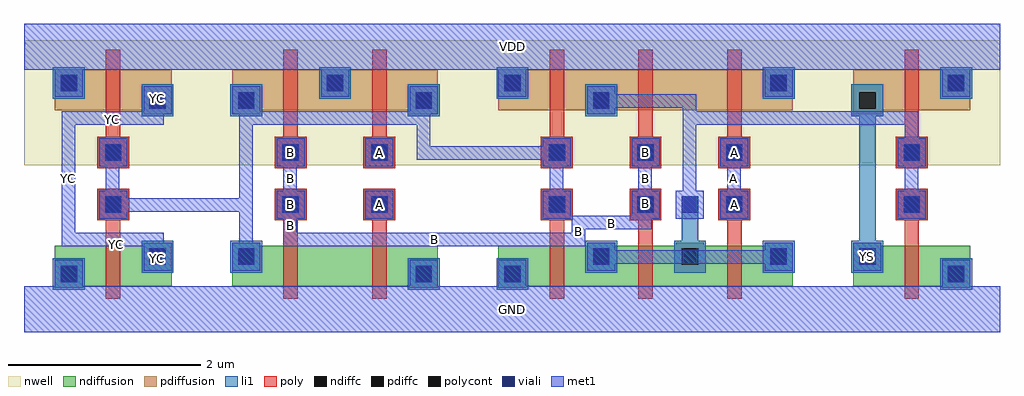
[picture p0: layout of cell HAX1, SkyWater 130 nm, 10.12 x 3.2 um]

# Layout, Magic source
magic
# Generated by librecell
tech sky130A
<< nwell >>
rect 0 149 1012 272
rect 1 272 1012 279
<< viali >>
rect 38 28 55 45
rect 406 28 423 45
rect 498 28 515 45
rect 958 28 975 45
rect 130 46 147 63
rect 222 46 239 63
rect 590 46 607 63
rect 774 46 791 63
rect 866 46 883 63
rect 84 100 101 117
rect 268 100 285 117
rect 360 100 377 117
rect 544 100 561 117
rect 636 100 653 117
rect 682 100 699 117
rect 728 100 745 117
rect 912 100 929 117
rect 84 154 101 171
rect 268 154 285 171
rect 360 154 377 171
rect 544 154 561 171
rect 636 154 653 171
rect 728 154 745 171
rect 912 154 929 171
rect 130 208 147 225
rect 222 208 239 225
rect 406 208 423 225
rect 590 208 607 225
rect 38 226 55 243
rect 314 226 331 243
rect 498 226 515 243
rect 774 226 791 243
rect 958 226 975 243
<< poly >>
rect 85 11 100 92
rect 76 92 109 125
rect 269 11 284 92
rect 260 92 293 125
rect 361 11 376 92
rect 352 92 385 125
rect 545 11 560 92
rect 536 92 569 125
rect 637 11 652 92
rect 628 92 661 125
rect 729 11 744 92
rect 720 92 753 125
rect 913 11 928 92
rect 904 92 937 125
rect 76 146 109 179
rect 85 179 100 269
rect 260 146 293 179
rect 269 179 284 269
rect 352 146 385 179
rect 361 179 376 269
rect 536 146 569 179
rect 545 179 560 269
rect 628 146 661 179
rect 637 179 652 269
rect 720 146 753 179
rect 729 179 744 269
rect 904 146 937 179
rect 913 179 928 269
<< properties >>
string FIXED_BBOX 0 0 1012 272
<< li1 >>
rect 30 20 63 53
rect 398 20 431 53
rect 490 20 523 53
rect 950 20 983 53
rect 122 38 155 71
rect 214 38 247 71
rect 582 38 615 71
rect 766 38 799 71
rect 674 38 707 71
rect 682 71 699 117
rect 76 92 109 125
rect 260 92 293 125
rect 352 92 385 125
rect 536 92 569 125
rect 628 92 661 125
rect 720 92 753 125
rect 904 92 937 125
rect 76 146 109 179
rect 260 146 293 179
rect 352 146 385 179
rect 536 146 569 179
rect 628 146 661 179
rect 720 146 753 179
rect 904 146 937 179
rect 122 200 155 233
rect 214 200 247 233
rect 398 200 431 233
rect 582 200 615 233
rect 858 38 891 71
rect 866 71 883 200
rect 858 200 891 233
rect 30 218 63 251
rect 306 218 339 251
rect 490 218 523 251
rect 766 218 799 251
rect 950 218 983 251
<< met1 >>
rect 0 -24 1012 24
rect 32 24 61 51
rect 400 24 429 51
rect 492 24 521 51
rect 952 24 981 51
rect 584 40 613 47
rect 768 40 797 47
rect 584 47 797 61
rect 584 61 613 69
rect 768 61 797 69
rect 860 40 889 69
rect 354 94 383 123
rect 354 148 383 177
rect 269 65 582 79
rect 568 79 582 83
rect 269 79 283 94
rect 568 83 651 94
rect 568 94 659 97
rect 262 94 291 123
rect 630 97 659 123
rect 269 123 283 148
rect 637 123 651 148
rect 262 148 291 177
rect 630 148 659 177
rect 722 94 751 123
rect 729 123 743 148
rect 722 148 751 177
rect 124 40 153 65
rect 39 65 153 69
rect 39 69 145 79
rect 39 79 53 191
rect 39 191 145 202
rect 39 202 153 205
rect 124 205 153 231
rect 216 40 245 69
rect 78 94 107 101
rect 223 69 237 101
rect 78 101 237 115
rect 78 115 107 123
rect 538 94 567 123
rect 85 123 99 148
rect 545 123 559 148
rect 538 148 567 155
rect 407 155 567 169
rect 78 148 107 177
rect 538 169 567 177
rect 223 115 237 191
rect 407 169 421 191
rect 223 191 421 202
rect 216 202 429 205
rect 216 205 245 231
rect 400 205 429 231
rect 676 94 705 123
rect 906 94 935 123
rect 913 123 927 148
rect 906 148 935 177
rect 683 123 697 191
rect 913 177 927 191
rect 683 191 927 205
rect 584 202 613 209
rect 683 205 697 209
rect 584 209 697 223
rect 584 223 613 231
rect 32 220 61 248
rect 308 220 337 248
rect 492 220 521 248
rect 768 220 797 248
rect 952 220 981 248
rect 0 248 1012 296
<< li1 >>
<< met1 >>
<< li1 >>
<< met1 >>
rect 0 -24 1012 24
rect 860 40 889 69
rect 354 148 383 177
rect 269 65 582 79
rect 568 79 582 83
rect 269 79 283 94
rect 568 83 651 94
rect 568 94 659 97
rect 262 94 291 123
rect 630 97 659 123
rect 269 123 283 148
rect 637 123 651 148
rect 262 148 291 177
rect 630 148 659 177
rect 124 40 153 65
rect 39 65 153 69
rect 39 69 145 79
rect 39 79 53 191
rect 39 191 145 202
rect 39 202 153 205
rect 124 205 153 231
rect 0 248 1012 296
<< ndiffusion >>
rect 32 22 61 24
rect 32 24 153 66
rect 124 66 153 69
rect 400 22 429 24
rect 216 24 429 66
rect 216 66 245 69
rect 492 22 521 24
rect 492 24 797 66
rect 584 66 613 69
rect 676 66 705 69
rect 768 66 797 69
rect 952 22 981 24
rect 860 24 981 66
rect 860 66 889 69
<< pdiffusion >>
rect 124 202 153 206
rect 32 206 153 248
rect 32 248 61 249
rect 216 202 245 206
rect 400 202 429 206
rect 216 206 429 248
rect 308 248 337 249
rect 584 202 613 206
rect 492 206 797 248
rect 492 248 521 249
rect 768 248 797 249
rect 860 202 889 206
rect 860 206 981 248
rect 952 248 981 249
<< polycont >>
rect 84 100 101 117
rect 268 100 285 117
rect 360 100 377 117
rect 544 100 561 117
rect 636 100 653 117
rect 728 100 745 117
rect 912 100 929 117
rect 84 154 101 171
rect 268 154 285 171
rect 360 154 377 171
rect 544 154 561 171
rect 636 154 653 171
rect 728 154 745 171
rect 912 154 929 171
<< pdiffc >>
rect 130 208 147 225
rect 222 208 239 225
rect 406 208 423 225
rect 590 208 607 225
rect 866 208 883 225
rect 38 226 55 243
rect 314 226 331 243
rect 498 226 515 243
rect 774 226 791 243
rect 958 226 975 243
<< ndiffc >>
rect 38 28 55 45
rect 406 28 423 45
rect 498 28 515 45
rect 958 28 975 45
rect 130 46 147 63
rect 222 46 239 63
rect 590 46 607 63
rect 682 46 699 63
rect 774 46 791 63
rect 866 46 883 63
<< labels >>
rlabel metal2 0 248 1012 296 0 VDD
port 1 se
rlabel metal2 0 -24 1012 24 0 GND
port 2 se
rlabel metal2 124 40 153 65 0 YC
port 3 se
rlabel metal2 39 65 153 69 0 YC
port 4 se
rlabel metal2 39 69 145 79 0 YC
port 5 se
rlabel metal2 39 79 53 191 0 YC
port 6 se
rlabel metal2 39 191 145 202 0 YC
port 7 se
rlabel metal2 39 202 153 205 0 YC
port 8 se
rlabel metal2 124 205 153 231 0 YC
port 9 se
rlabel metal2 860 40 889 69 0 YS
port 10 se
rlabel metal2 722 94 751 123 0 A
port 11 se
rlabel metal2 729 123 743 148 0 A
port 12 se
rlabel metal2 722 148 751 177 0 A
port 13 se
rlabel metal2 354 94 383 123 0 A
port 14 se
rlabel metal2 354 148 383 177 0 A
port 15 se
rlabel metal2 269 65 582 79 0 B
port 16 se
rlabel metal2 568 79 582 83 0 B
port 17 se
rlabel metal2 269 79 283 94 0 B
port 18 se
rlabel metal2 568 83 651 94 0 B
port 19 se
rlabel metal2 568 94 659 97 0 B
port 20 se
rlabel metal2 262 94 291 123 0 B
port 21 se
rlabel metal2 630 97 659 123 0 B
port 22 se
rlabel metal2 269 123 283 148 0 B
port 23 se
rlabel metal2 637 123 651 148 0 B
port 24 se
rlabel metal2 262 148 291 177 0 B
port 25 se
rlabel metal2 630 148 659 177 0 B
port 26 se
<< end >>
